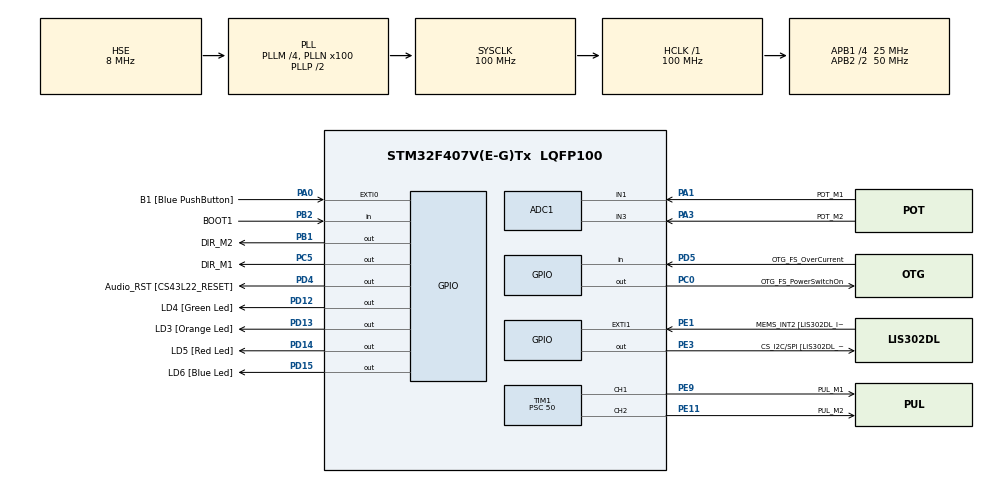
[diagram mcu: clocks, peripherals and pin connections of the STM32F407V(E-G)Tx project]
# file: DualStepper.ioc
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ADC1.Channel-1\#ChannelRegularConversion=ADC_CHANNEL_1
ADC1.Channel-2\#ChannelRegularConversion=ADC_CHANNEL_3
ADC1.ContinuousConvMode=ENABLE
ADC1.NbrOfConversion=2
ADC1.NbrOfConversionFlag=1
ADC1.Rank-1\#ChannelRegularConversion=1
ADC1.Rank-2\#ChannelRegularConversion=2
ADC1.SamplingTime-1\#ChannelRegularConversion=ADC_SAMPLETIME_15CYCLES
ADC1.SamplingTime-2\#ChannelRegularConversion=ADC_SAMPLETIME_15CYCLES
ADC1.master=1
Mcu.Family=STM32F4
Mcu.Name=STM32F407V(E-G)Tx
Mcu.Package=LQFP100
NVIC.PriorityGroup=NVIC_PRIORITYGROUP_0
PA0-WKUP.GPIO_Label=B1 [Blue PushButton]
PA0-WKUP.Signal=GPXTI0
PA1.GPIO_Label=POT_M1
PA1.Signal=ADCx_IN1
PA10.GPIO_Label=OTG_FS_ID
PA10.GPIO_Mode=GPIO_MODE_AF_PP
PA10.GPIO_PuPd=GPIO_NOPULL
PA10.GPIO_Speed=GPIO_SPEED_FREQ_LOW
PA10.Signal=USB_OTG_FS_ID
PA11.GPIO_Label=OTG_FS_DM
PA11.GPIO_Mode=GPIO_MODE_AF_PP
PA11.GPIO_PuPd=GPIO_NOPULL
PA11.GPIO_Speed=GPIO_SPEED_FREQ_LOW
PA11.Signal=USB_OTG_FS_DM
PA12.GPIO_Label=OTG_FS_DP
PA12.GPIO_Mode=GPIO_MODE_AF_PP
PA12.GPIO_PuPd=GPIO_NOPULL
PA12.GPIO_Speed=GPIO_SPEED_FREQ_LOW
PA12.Signal=USB_OTG_FS_DP
PA13.GPIO_Label=SWDIO
PA13.Signal=SYS_JTMS-SWDIO
PA14.GPIO_Label=SWCLK
PA14.Signal=SYS_JTCK-SWCLK
PA3.GPIO_Label=POT_M2
PA3.Signal=ADCx_IN3
PA4.GPIO_Label=I2S3_WS [CS43L22_LRCK]
PA4.GPIO_Mode=GPIO_MODE_AF_PP
PA4.GPIO_PuPd=GPIO_NOPULL
PA4.GPIO_Speed=GPIO_SPEED_FREQ_LOW
PA4.Signal=I2S3_WS
PA5.GPIO_Label=SPI1_SCK [LIS302DL_SCL/SPC]
PA5.GPIO_Mode=GPIO_MODE_AF_PP
PA5.GPIO_PuPd=GPIO_NOPULL
PA5.GPIO_Speed=GPIO_SPEED_FREQ_LOW
PA5.Signal=SPI1_SCK
PA6.GPIO_Label=SPI1_MISO [LIS302DL_SDO]
PA6.GPIO_Mode=GPIO_MODE_AF_PP
PA6.GPIO_PuPd=GPIO_NOPULL
PA6.GPIO_Speed=GPIO_SPEED_FREQ_LOW
PA6.Signal=SPI1_MISO
PA7.GPIO_Label=SPI1_MOSI [LIS302DL_SDA/SDI/SDO]
PA7.GPIO_Mode=GPIO_MODE_AF_PP
PA7.GPIO_PuPd=GPIO_NOPULL
PA7.GPIO_Speed=GPIO_SPEED_FREQ_LOW
PA7.Signal=SPI1_MOSI
PA9.GPIO_Label=VBUS_FS
PA9.GPIO_Mode=GPIO_MODE_INPUT
PA9.GPIO_PuPd=GPIO_NOPULL
PA9.Signal=USB_OTG_FS_VBUS
PB1.GPIO_Label=DIR_M2
PB1.Signal=GPIO_Output
PB10.GPIO_Label=CLK_IN [MP45DT02_CLK]
PB10.GPIO_Mode=GPIO_MODE_AF_PP
PB10.GPIO_PuPd=GPIO_NOPULL
PB10.GPIO_Speed=GPIO_SPEED_FREQ_LOW
PB10.Signal=I2S2_CK
PB2.GPIO_Label=BOOT1
PB2.GPIO_Mode=GPIO_MODE_INPUT
PB2.GPIO_PuPd=GPIO_NOPULL
PB2.Signal=GPIO_Input
PB3.GPIO_Label=SWO
PB3.Signal=SYS_JTDO-SWO
PB6.GPIO_Label=Audio_SCL [CS43L22_SCL]
PB6.GPIO_Mode=GPIO_MODE_AF_OD
PB6.GPIO_PuPd=GPIO_NOPULL
PB6.GPIO_Speed=GPIO_SPEED_FREQ_LOW
PB6.Signal=I2C1_SCL
PB9.GPIO_Label=Audio_SDA [CS43L22_SDA]
PB9.GPIO_Mode=GPIO_MODE_AF_OD
PB9.GPIO_PuPd=GPIO_NOPULL
PB9.GPIO_Speed=GPIO_SPEED_FREQ_LOW
PB9.Signal=I2C1_SDA
PC0.GPIO_Label=OTG_FS_PowerSwitchOn
PC0.GPIO_PuPd=GPIO_NOPULL
PC0.GPIO_Speed=GPIO_SPEED_FREQ_LOW
PC0.PinState=GPIO_PIN_SET
PC0.Signal=GPIO_Output
PC10.GPIO_Label=I2S3_SCK [CS43L22_SCLK]
PC10.GPIO_Mode=GPIO_MODE_AF_PP
PC10.GPIO_PuPd=GPIO_NOPULL
PC10.GPIO_Speed=GPIO_SPEED_FREQ_LOW
PC10.Signal=I2S3_CK
PC12.GPIO_Label=I2S3_SD [CS43L22_SDIN]
PC12.GPIO_Mode=GPIO_MODE_AF_PP
PC12.GPIO_PuPd=GPIO_NOPULL
PC12.GPIO_Speed=GPIO_SPEED_FREQ_LOW
PC12.Signal=I2S3_SD
PC14-OSC32_IN.GPIO_Label=PC14-OSC32_IN
PC14-OSC32_IN.Signal=RCC_OSC32_IN
PC15-OSC32_OUT.GPIO_Label=PC15-OSC32_OUT
PC15-OSC32_OUT.Signal=RCC_OSC32_OUT
PC3.GPIO_Label=PDM_OUT [MP45DT02_DOUT]
PC3.GPIO_Mode=GPIO_MODE_AF_PP
PC3.GPIO_PuPd=GPIO_NOPULL
PC3.GPIO_Speed=GPIO_SPEED_FREQ_LOW
PC3.Signal=I2S2_SD
PC5.GPIO_Label=DIR_M1
PC5.Signal=GPIO_Output
PC7.GPIO_Label=I2S3_MCK [CS43L22_MCLK]
PC7.GPIO_Mode=GPIO_MODE_AF_PP
PC7.GPIO_PuPd=GPIO_NOPULL
PC7.GPIO_Speed=GPIO_SPEED_FREQ_LOW
PC7.Signal=I2S3_MCK
PD12.GPIO_Label=LD4 [Green Led]
PD12.GPIO_PuPd=GPIO_NOPULL
PD12.GPIO_Speed=GPIO_SPEED_FREQ_LOW
PD12.Signal=GPIO_Output
PD13.GPIO_Label=LD3 [Orange Led]
PD13.GPIO_PuPd=GPIO_NOPULL
PD13.GPIO_Speed=GPIO_SPEED_FREQ_LOW
PD13.Signal=GPIO_Output
PD14.GPIO_Label=LD5 [Red Led]
PD14.GPIO_PuPd=GPIO_NOPULL
PD14.GPIO_Speed=GPIO_SPEED_FREQ_LOW
PD14.Signal=GPIO_Output
PD15.GPIO_Label=LD6 [Blue Led]
PD15.GPIO_PuPd=GPIO_NOPULL
PD15.GPIO_Speed=GPIO_SPEED_FREQ_LOW
PD15.Signal=GPIO_Output
PD4.GPIO_Label=Audio_RST [CS43L22_RESET]
PD4.GPIO_PuPd=GPIO_NOPULL
PD4.GPIO_Speed=GPIO_SPEED_FREQ_LOW
PD4.Signal=GPIO_Output
PD5.GPIO_Label=OTG_FS_OverCurrent
PD5.GPIO_Mode=GPIO_MODE_INPUT
PD5.GPIO_PuPd=GPIO_NOPULL
PD5.Signal=GPIO_Input
PE1.GPIO_Label=MEMS_INT2 [LIS302DL_INT2]
PE1.GPIO_ModeDefaultEXTI=GPIO_MODE_EVT_RISING
PE1.GPIO_PuPd=GPIO_NOPULL
PE1.Signal=GPXTI1
PE11.GPIO_Label=PUL_M2
PE11.Signal=S_TIM1_CH2
PE3.GPIO_Label=CS_I2C/SPI [LIS302DL_CS_I2C/SPI]
PE3.GPIO_PuPd=GPIO_NOPULL
PE3.GPIO_Speed=GPIO_SPEED_FREQ_LOW
PE3.Signal=GPIO_Output
PE9.GPIO_Label=PUL_M1
PE9.Signal=S_TIM1_CH1
PH0-OSC_IN.GPIO_Label=PH0-OSC_IN
PH0-OSC_IN.Mode=HSE-External-Oscillator
PH0-OSC_IN.Signal=RCC_OSC_IN
PH1-OSC_OUT.GPIO_Label=PH1-OSC_OUT
PH1-OSC_OUT.Mode=HSE-External-Oscillator
PH1-OSC_OUT.Signal=RCC_OSC_OUT
ProjectManager.HeapSize=0x200
ProjectManager.StackSize=0x400
ProjectManager.TargetToolchain=STM32CubeIDE
RCC.48MHZClocksFreq_Value=28571428.57142857
RCC.AHBFreq_Value=100000000
RCC.APB1CLKDivider=RCC_HCLK_DIV4
RCC.APB1Freq_Value=25000000
RCC.APB1TimFreq_Value=50000000
RCC.APB2CLKDivider=RCC_HCLK_DIV2
RCC.APB2Freq_Value=50000000
RCC.APB2TimFreq_Value=100000000
RCC.CortexFreq_Value=100000000
RCC.HCLKFreq_Value=100000000
RCC.HSE_VALUE=8000000
RCC.HSI_VALUE=16000000
RCC.LSE_VALUE=32768
RCC.PLLM=4
RCC.PLLN=100
RCC.PLLQ=7
RCC.PLLSourceVirtual=RCC_PLLSOURCE_HSE
RCC.SYSCLKFreq_VALUE=100000000
RCC.SYSCLKSource=RCC_SYSCLKSOURCE_PLLCLK
RCC.VCOOutputFreq_Value=200000000
SH.ADCx_IN1.0=ADC1_IN1,IN1
SH.ADCx_IN3.0=ADC1_IN3,IN3
SH.S_TIM1_CH1.0=TIM1_CH1,PWM Generation1 CH1
SH.S_TIM1_CH2.0=TIM1_CH2,PWM Generation2 CH2
TIM1.Channel-PWM\ Generation1\ CH1=TIM_CHANNEL_1
TIM1.Channel-PWM\ Generation2\ CH2=TIM_CHANNEL_2
TIM1.Period=1000-1
TIM1.Prescaler=50
VP_TIM1_VS_ClockSourceINT.Mode=Internal
board=STM32F407G-DISC1

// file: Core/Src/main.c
/* USER CODE BEGIN Header */
/**
  ******************************************************************************
  * @file           : main.c
  * @brief          : Main program body
  ******************************************************************************
  * @attention
  *
  * Copyright (c) 2024 STMicroelectronics.
  * All rights reserved.
  *
  * This software is licensed under terms that can be found in the LICENSE file
  * in the root directory of this software component.
  * If no LICENSE file comes with this software, it is provided AS-IS.
  *
  ******************************************************************************
  */
/* USER CODE END Header */
#include "main.h"
#include "adc.h"
#include "tim.h"
#include "gpio.h"

/* USER CODE BEGIN Includes */
#include <string.h>
/* USER CODE END Includes */

/* USER CODE BEGIN PV */
#define ADC_WINDOW_SAMPLES 10
#define ADC_WINDOW_CALIBRATION 100
#define ADC_TIMEOUT 100
#define ADC_MAX 4095
#define ADC_MIN 0

#define POT_HIGH_THRESHOLD 2500
#define POT_LOW_THRESHOLD 1500

#define PWM_MAX_DUTY 100
#define PWM_50_DUTY PWM_MAX_DUTY>>1
#define PWM_MIN_DUTY 0

typedef enum {
	STATE_INIT,
	STATE_ADC,
	STATE_PWM,
	STATE_ERROR,
	STATE_MAX
} stateMachine_t;

typedef enum {
	MOTOR_1,
	MOTOR_2,
	MOTOR_MAX
} motor_t;

typedef struct
{
	motor_t motor;
    uint16_t dir;
    uint16_t dc;
    uint16_t pot;
    uint16_t baseline;
} motorControl_t;

stateMachine_t internalState = STATE_INIT;
motorControl_t motor1;
motorControl_t motor2;

TIM_OC_InitTypeDef sConfigOC;
/* USER CODE END PV */

void SystemClock_Config(void);
/* USER CODE BEGIN PFP */

void motor_calibration(motorControl_t *motor1, motorControl_t *motor2) {
	  uint32_t sum1 = 0, sum2 = 0;
	  static uint32_t cnt_error1 = 0, cnt_error2 = 0 ;

	  for(int i = ADC_WINDOW_CALIBRATION; i > 0; i--) {
		  HAL_ADC_Start(&hadc1);
		  if(HAL_OK != HAL_ADC_PollForConversion(&hadc1, ADC_TIMEOUT)) {
			  cnt_error1++;
		  }
		  sum1 += HAL_ADC_GetValue(&hadc1);
		  if(HAL_OK != HAL_ADC_PollForConversion(&hadc1, ADC_TIMEOUT)) {
			  cnt_error2++;
		  }
		  sum2 += HAL_ADC_GetValue(&hadc1);
		  HAL_ADC_Stop(&hadc1);
	  }

	  motor1->baseline = (uint16_t)(sum1 / ADC_WINDOW_CALIBRATION);
	  motor2->baseline = (uint16_t)(sum2 / ADC_WINDOW_CALIBRATION);
}

void motor_init(motorControl_t *motor1, motorControl_t *motor2) {
	  motor1->dc = PWM_MIN_DUTY;
	  motor2->dc = PWM_MIN_DUTY;
	  __HAL_TIM_SET_COMPARE(&htim1, TIM_CHANNEL_1, motor1->dc);
	  __HAL_TIM_SET_COMPARE(&htim1, TIM_CHANNEL_2, motor2->dc);
	  HAL_TIM_PWM_Start(&htim1, TIM_CHANNEL_1);
	  HAL_TIM_PWM_Start(&htim1, TIM_CHANNEL_2);
}

void motor_getValue(motorControl_t *motor1, motorControl_t *motor2) {
	  uint32_t sum1 = 0, sum2 = 0;
	  static uint32_t cnt_error1 = 0, cnt_error2 = 0 ;

	  for(int i = ADC_WINDOW_SAMPLES; i > 0; i--) {
		  HAL_ADC_Start(&hadc1);
		  if(HAL_OK != HAL_ADC_PollForConversion(&hadc1, ADC_TIMEOUT)) {
			  cnt_error1++;
		  }
		  sum1 += HAL_ADC_GetValue(&hadc1);
		  if(HAL_OK != HAL_ADC_PollForConversion(&hadc1, ADC_TIMEOUT)) {
			  cnt_error2++;
		  }
		  sum2 += HAL_ADC_GetValue(&hadc1);
		  HAL_ADC_Stop(&hadc1);
	  }

	  motor1->pot = (uint16_t)(sum1 / ADC_WINDOW_SAMPLES);
	  motor2->pot = (uint16_t)(sum2 / ADC_WINDOW_SAMPLES);
}

void motor_pwm_setvalue(motorControl_t *motor1, motorControl_t *motor2) {

	if(motor1->pot > POT_HIGH_THRESHOLD) {
		motor1->dir = 1;
		motor1->dc = PWM_50_DUTY;
		HAL_GPIO_WritePin(GPIOD, LD3_Pin, GPIO_PIN_SET);
		HAL_GPIO_WritePin(GPIOD, LD6_Pin, GPIO_PIN_RESET);

		// DIR pin
		HAL_GPIO_WritePin(DIR_M1_GPIO_Port, DIR_M1_Pin, GPIO_PIN_SET);
	}
	else if(motor1->pot < POT_LOW_THRESHOLD) {
		motor1->dir = 0;
		motor1->dc = PWM_50_DUTY;
		HAL_GPIO_WritePin(GPIOD, LD6_Pin, GPIO_PIN_SET);
		HAL_GPIO_WritePin(GPIOD, LD3_Pin, GPIO_PIN_RESET);
		// DIR pin
		HAL_GPIO_WritePin(DIR_M1_GPIO_Port, DIR_M1_Pin, GPIO_PIN_RESET);
	}
	else {
		motor1->dir = 0;
		motor1->dc = PWM_MIN_DUTY;
		HAL_GPIO_WritePin(GPIOD, LD3_Pin|LD6_Pin, GPIO_PIN_RESET);
		// DIR pin
		HAL_GPIO_WritePin(DIR_M1_GPIO_Port, DIR_M1_Pin, GPIO_PIN_RESET);
	}

	if(motor2->pot > POT_HIGH_THRESHOLD) {
		motor2->dir = 1;
		motor2->dc = PWM_50_DUTY;
		HAL_GPIO_WritePin(GPIOD, LD4_Pin, GPIO_PIN_SET);
		HAL_GPIO_WritePin(GPIOD, LD5_Pin, GPIO_PIN_RESET);
		// DIR pin
		HAL_GPIO_WritePin(DIR_M2_GPIO_Port, DIR_M2_Pin, GPIO_PIN_SET);
	}
	else if(motor2->pot < POT_LOW_THRESHOLD) {
		motor2->dir = 0;
		motor2->dc = PWM_50_DUTY;
		HAL_GPIO_WritePin(GPIOD, LD5_Pin, GPIO_PIN_SET);
		HAL_GPIO_WritePin(GPIOD, LD4_Pin, GPIO_PIN_RESET);
		// DIR pin
		HAL_GPIO_WritePin(DIR_M2_GPIO_Port, DIR_M2_Pin, GPIO_PIN_RESET);
	}
	else {
		motor2->dir = 0;
		motor2->dc = PWM_MIN_DUTY;
		HAL_GPIO_WritePin(GPIOD, LD5_Pin|LD4_Pin, GPIO_PIN_RESET);
		// DIR pin
		HAL_GPIO_WritePin(DIR_M2_GPIO_Port, DIR_M2_Pin, GPIO_PIN_RESET);
	}

	sConfigOC.OCMode = TIM_OCMODE_PWM1;
	sConfigOC.Pulse = motor1->dc;
	sConfigOC.OCPolarity = TIM_OCPOLARITY_HIGH;
	sConfigOC.OCFastMode = TIM_OCFAST_DISABLE;
//	__HAL_TIM_SET_COMPARE(&htim1, TIM_CHANNEL_1, motor1->dc);
	HAL_TIM_PWM_ConfigChannel(&htim1, &sConfigOC, TIM_CHANNEL_1);
	HAL_TIM_PWM_Start(&htim1, TIM_CHANNEL_1);

	sConfigOC.OCMode = TIM_OCMODE_PWM1;
	sConfigOC.Pulse = motor2->dc;
	sConfigOC.OCPolarity = TIM_OCPOLARITY_HIGH;
	sConfigOC.OCFastMode = TIM_OCFAST_DISABLE;
//	__HAL_TIM_SET_COMPARE(&htim1, TIM_CHANNEL_2, motor2->dc);
	HAL_TIM_PWM_ConfigChannel(&htim1, &sConfigOC, TIM_CHANNEL_2);
	HAL_TIM_PWM_Start(&htim1, TIM_CHANNEL_2);
}
/* USER CODE END PFP */

int main(void)
{

  /* MCU Configuration--------------------------------------------------------*/

  /* Reset of all peripherals, Initializes the Flash interface and the Systick. */
  HAL_Init();

  /* Configure the system clock */
  SystemClock_Config();

  /* Initialize all configured peripherals */
  MX_GPIO_Init();
  MX_ADC1_Init();
  MX_TIM1_Init();
  /* USER CODE BEGIN 2 */
  HAL_Delay(10);

  /* USER CODE END 2 */

  /* Infinite loop */
  while (1)
  {

    /* USER CODE BEGIN 3 */
	  switch(internalState) {
	  case STATE_INIT:
		  memset(&motor1, 0, sizeof(motorControl_t));
		  memset(&motor2, 0, sizeof(motorControl_t));

		  motor1.motor = MOTOR_1;
		  motor2.motor = MOTOR_2;

		  motor_calibration(&motor1, &motor2);

		  motor_init(&motor1, &motor2);

		  internalState = STATE_ADC;
		  break;
	  case STATE_ADC:
		  motor_getValue(&motor1, &motor2);
		  internalState = STATE_PWM;
		  break;
	  case STATE_PWM:

		  motor_pwm_setvalue(&motor1, &motor2);

//		  HAL_GPIO_WritePin(DIR_M1_GPIO_Port, DIR_M1_Pin, GPIO_PIN_RESET);
//		  HAL_GPIO_WritePin(DIR_M2_GPIO_Port, DIR_M2_Pin, GPIO_PIN_RESET);
//		  for(int i = 0; i<100000;i++) {
//			  HAL_GPIO_WritePin(GPIOE, PUL_M1_Pin, GPIO_PIN_SET);
//			  HAL_GPIO_WritePin(GPIOE, PUL_M2_Pin, GPIO_PIN_SET);
//			  HAL_Delay(2);
//			  HAL_GPIO_WritePin(GPIOE, PUL_M1_Pin, GPIO_PIN_RESET);
//			  HAL_GPIO_WritePin(GPIOE, PUL_M2_Pin, GPIO_PIN_RESET);
//			  HAL_Delay(1);
//		  }
//
//		  HAL_GPIO_WritePin(DIR_M1_GPIO_Port, DIR_M1_Pin, GPIO_PIN_SET);
//		  HAL_GPIO_WritePin(DIR_M2_GPIO_Port, DIR_M2_Pin, GPIO_PIN_SET);
//		  for(int i = 0; i<100000;i++) {
//			  HAL_GPIO_WritePin(GPIOE, PUL_M1_Pin, GPIO_PIN_SET);
//			  HAL_GPIO_WritePin(GPIOE, PUL_M2_Pin, GPIO_PIN_SET);
//			  HAL_Delay(2);
//			  HAL_GPIO_WritePin(GPIOE, PUL_M1_Pin, GPIO_PIN_RESET);
//			  HAL_GPIO_WritePin(GPIOE, PUL_M2_Pin, GPIO_PIN_RESET);
//			  HAL_Delay(1);
//		  }

		  internalState = STATE_ADC;
		  break;
	  case STATE_ERROR:
		  break;
	  default:
		  break;
	  }
  }
  /* USER CODE END 3 */
}

void SystemClock_Config(void)
{
  RCC_OscInitTypeDef RCC_OscInitStruct = {0};
  RCC_ClkInitTypeDef RCC_ClkInitStruct = {0};

  /** Configure the main internal regulator output voltage
  */
  __HAL_RCC_PWR_CLK_ENABLE();
  __HAL_PWR_VOLTAGESCALING_CONFIG(PWR_REGULATOR_VOLTAGE_SCALE1);

  /** Initializes the RCC Oscillators according to the specified parameters
  * in the RCC_OscInitTypeDef structure.
  */
  RCC_OscInitStruct.OscillatorType = RCC_OSCILLATORTYPE_HSE;
  RCC_OscInitStruct.HSEState = RCC_HSE_ON;
  RCC_OscInitStruct.PLL.PLLState = RCC_PLL_ON;
  RCC_OscInitStruct.PLL.PLLSource = RCC_PLLSOURCE_HSE;
  RCC_OscInitStruct.PLL.PLLM = 4;
  RCC_OscInitStruct.PLL.PLLN = 100;
  RCC_OscInitStruct.PLL.PLLP = RCC_PLLP_DIV2;
  RCC_OscInitStruct.PLL.PLLQ = 7;
  if (HAL_RCC_OscConfig(&RCC_OscInitStruct) != HAL_OK)
  {
    Error_Handler();
  }

  /** Initializes the CPU, AHB and APB buses clocks
  */
  RCC_ClkInitStruct.ClockType = RCC_CLOCKTYPE_HCLK|RCC_CLOCKTYPE_SYSCLK
                              |RCC_CLOCKTYPE_PCLK1|RCC_CLOCKTYPE_PCLK2;
  RCC_ClkInitStruct.SYSCLKSource = RCC_SYSCLKSOURCE_PLLCLK;
  RCC_ClkInitStruct.AHBCLKDivider = RCC_SYSCLK_DIV1;
  RCC_ClkInitStruct.APB1CLKDivider = RCC_HCLK_DIV4;
  RCC_ClkInitStruct.APB2CLKDivider = RCC_HCLK_DIV2;

  if (HAL_RCC_ClockConfig(&RCC_ClkInitStruct, FLASH_LATENCY_3) != HAL_OK)
  {
    Error_Handler();
  }
}

void Error_Handler(void)
{
  __disable_irq();
  while (1)
  {
  }
}
